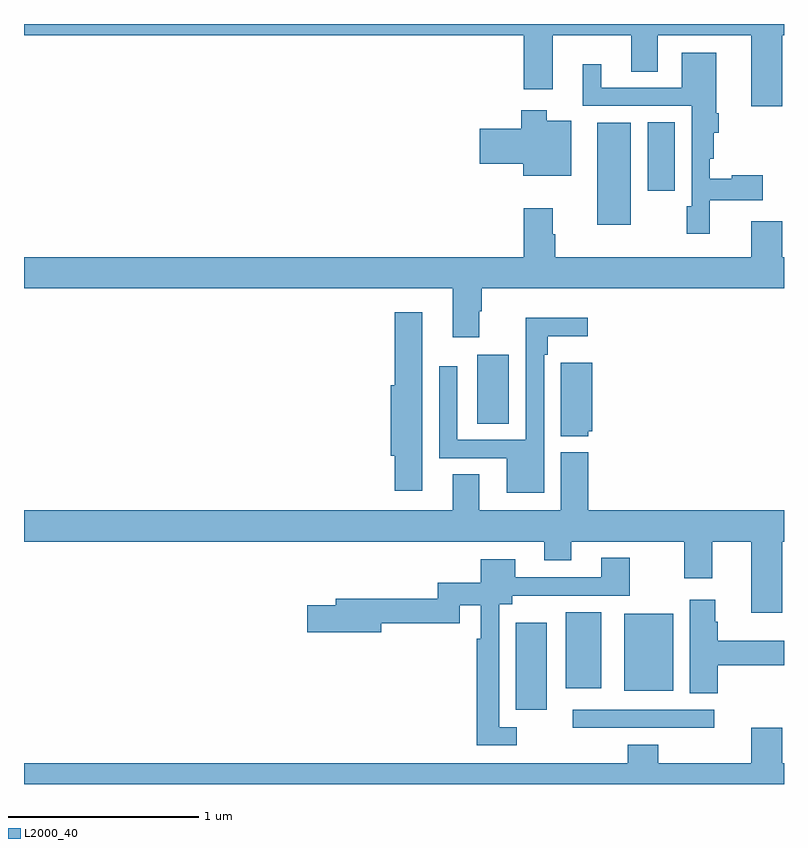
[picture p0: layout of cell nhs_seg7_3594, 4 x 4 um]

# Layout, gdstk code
import gdstk
lib = gdstk.Library(unit=1e-6, precision=1e-09)
def R(c, l, rs):  # rectangles x0, y0, x1, y1
    for r in rs: c.add(gdstk.rectangle(r[:2], r[2:], *l))
def P(c, l, *ps):  # polygons
    for p in ps: c.add(gdstk.Polygon(p, *l))
L2000_40 = (2000, 40)

nhs_seg7_3594 = lib.new_cell('nhs_seg7_3594')
R(nhs_seg7_3594, L2000_40, [(343.887,1006.296,344.632,1006.392), (343.589,1006.391,343.75,1006.849), (344.159,1006.49,344.416,1006.897), (343.85,1006.505,344.038,1006.903), (343.385,1007.896,343.552,1008.259), (344.018,1008.944,344.194,1009.48), (344.282,1009.122,344.425,1009.484)])
P(nhs_seg7_3594, L2000_40, [(344.992,1009.94),(345,1009.94),(345,1010),(341,1010),(341,1009.94),(343.631,1009.94),(343.631,1009.656),(343.783,1009.656),(343.783,1009.94),(344.195,1009.94),(344.195,1009.75),(344.335,1009.75),(344.335,1009.94),(344.828,1009.94),(344.828,1009.566),(344.992,1009.566)],
  [(344.61,1009.073),(344.887,1009.073),(344.887,1009.203),(344.724,1009.203),(344.724,1009.185),(344.61,1009.185),(344.61,1009.291),(344.63,1009.291),(344.63,1009.427),(344.657,1009.427),(344.657,1009.531),(344.644,1009.531),(344.644,1009.849),(344.462,1009.849),(344.462,1009.665),(344.038,1009.665),(344.038,1009.789),(343.94,1009.789),(343.94,1009.569),(344.514,1009.569),(344.514,1009.041),(344.488,1009.041),(344.488,1008.897),(344.61,1008.897)],
  [(343.879,1009.492),(343.75,1009.492),(343.75,1009.546),(343.616,1009.546),(343.616,1009.448),(343.398,1009.448),(343.398,1009.265),(343.628,1009.265),(343.628,1009.202),(343.879,1009.202)],
  [(343.396,1008.488),(343.409,1008.488),(343.409,1008.608),(345,1008.608),(345,1008.772),(344.992,1008.772),(344.992,1008.961),(344.828,1008.961),(344.828,1008.772),(343.796,1008.772),(343.796,1008.893),(343.783,1008.893),(343.783,1009.03),(343.631,1009.03),(343.631,1008.772),(341,1008.772),(341,1008.608),(343.256,1008.608),(343.256,1008.351),(343.396,1008.351)],
  [(343.096,1008.484),(342.95,1008.484),(342.95,1008.099),(342.929,1008.099),(342.929,1007.727),(342.95,1007.727),(342.95,1007.544),(343.096,1007.544)],
  [(343.737,1008.26),(343.757,1008.26),(343.757,1008.356),(343.966,1008.356),(343.966,1008.454),(343.641,1008.454),(343.641,1007.811),(343.281,1007.811),(343.281,1008.199),(343.185,1008.199),(343.185,1007.715),(343.541,1007.715),(343.541,1007.534),(343.737,1007.534)],
  [(343.971,1007.856),(343.99,1007.856),(343.99,1008.217),(343.826,1008.217),(343.826,1007.831),(343.971,1007.831)],
  [(344.992,1007.276),(345,1007.276),(345,1007.44),(343.97,1007.44),(343.97,1007.746),(343.826,1007.746),(343.826,1007.44),(343.396,1007.44),(343.396,1007.63),(343.256,1007.63),(343.256,1007.44),(341,1007.44),(341,1007.276),(343.739,1007.276),(343.739,1007.177),(343.879,1007.177),(343.879,1007.276),(344.476,1007.276),(344.476,1007.082),(344.623,1007.082),(344.623,1007.276),(344.828,1007.276),(344.828,1006.902),(344.992,1006.902)],
  [(343.594,1006.3),(343.5,1006.3),(343.5,1006.946),(343.57,1006.946),(343.57,1006.992),(344.187,1006.992),(344.187,1007.191),(344.039,1007.191),(344.039,1007.088),(343.585,1007.088),(343.585,1007.182),(343.403,1007.182),(343.403,1007.06),(343.177,1007.06),(343.177,1006.975),(342.641,1006.975),(342.641,1006.941),(342.492,1006.941),(342.492,1006.799),(342.88,1006.799),(342.88,1006.846),(343.293,1006.846),(343.293,1006.942),(343.404,1006.942),(343.404,1006.765),(343.384,1006.765),(343.384,1006.203),(343.594,1006.203)],
  [(344.651,1006.624),(345,1006.624),(345,1006.753),(344.651,1006.753),(344.651,1006.853),(344.638,1006.853),(344.638,1006.969),(344.504,1006.969),(344.504,1006.477),(344.651,1006.477)],
  [(345,1006.108),(344.992,1006.108),(344.992,1006.297),(344.828,1006.297),(344.828,1006.108),(344.337,1006.108),(344.337,1006.207),(344.177,1006.207),(344.177,1006.108),(341,1006.108),(341,1006),(345,1006)])

lib.write_gds('nhs_seg7_3594.gds')
